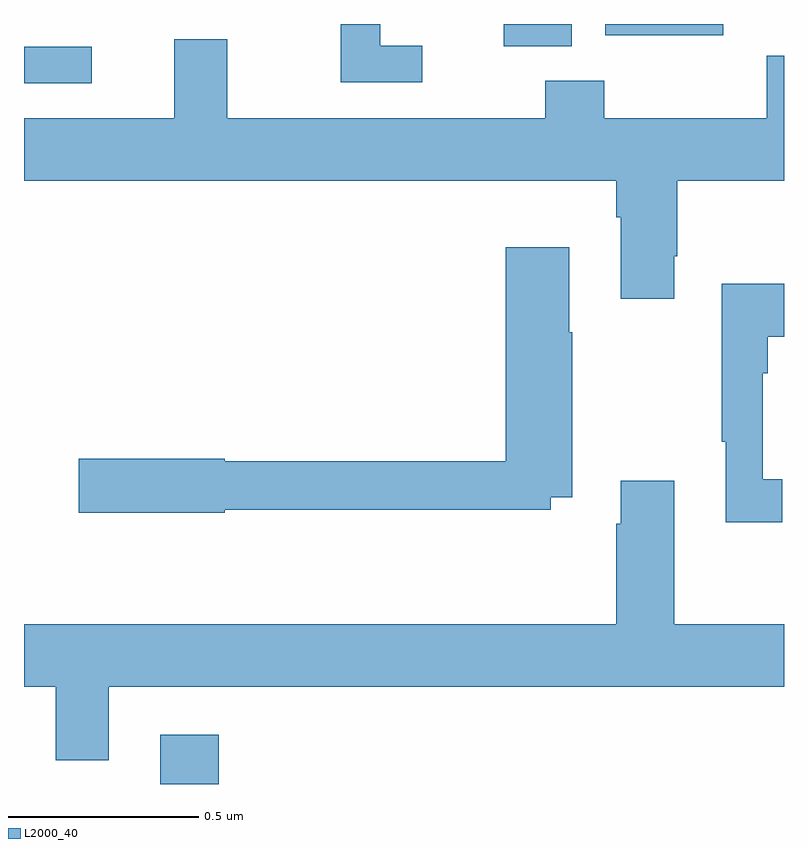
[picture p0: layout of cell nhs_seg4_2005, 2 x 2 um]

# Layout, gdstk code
import gdstk
lib = gdstk.Library(unit=1e-6, precision=1e-09)
def R(c, l, rs):  # rectangles x0, y0, x1, y1
    for r in rs: c.add(gdstk.rectangle(r[:2], r[2:], *l))
def P(c, l, *ps):  # polygons
    for p in ps: c.add(gdstk.Polygon(p, *l))
L2000_40 = (2000, 40)

nhs_seg4_2005 = lib.new_cell('nhs_seg4_2005')
R(nhs_seg4_2005, L2000_40, [(135.359,793.9,135.512,794.029), (135,795.744,135.178,795.84), (136.262,795.842,136.441,795.9), (136.53,795.871,136.84,795.9)])
P(nhs_seg4_2005, L2000_40, [(136.048,795.843),(135.937,795.843),(135.937,795.9),(135.833,795.9),(135.833,795.747),(136.048,795.747)],
  [(136.711,795.289),(136.719,795.289),(136.719,795.488),(137,795.488),(137,795.817),(136.954,795.817),(136.954,795.652),(136.527,795.652),(136.527,795.751),(136.372,795.751),(136.372,795.652),(135.535,795.652),(135.535,795.86),(135.395,795.86),(135.395,795.652),(135,795.652),(135,795.488),(136.559,795.488),(136.559,795.392),(136.571,795.392),(136.571,795.177),(136.711,795.177)],
  [(135.528,794.622),(136.386,794.622),(136.386,794.654),(136.443,794.654),(136.443,795.089),(136.435,795.089),(136.435,795.313),(136.268,795.313),(136.268,794.75),(135.528,794.75),(135.528,794.756),(135.144,794.756),(135.144,794.614),(135.528,794.614)],
  [(136.996,794.702),(136.944,794.702),(136.944,794.981),(136.957,794.981),(136.957,795.077),(137,795.077),(137,795.217),(136.836,795.217),(136.836,794.801),(136.847,794.801),(136.847,794.589),(136.996,794.589)],
  [(135.223,794.156),(137,794.156),(137,794.32),(136.711,794.32),(136.711,794.698),(136.571,794.698),(136.571,794.585),(136.559,794.585),(136.559,794.32),(135,794.32),(135,794.156),(135.083,794.156),(135.083,793.962),(135.223,793.962)])

lib.write_gds('nhs_seg4_2005.gds')
